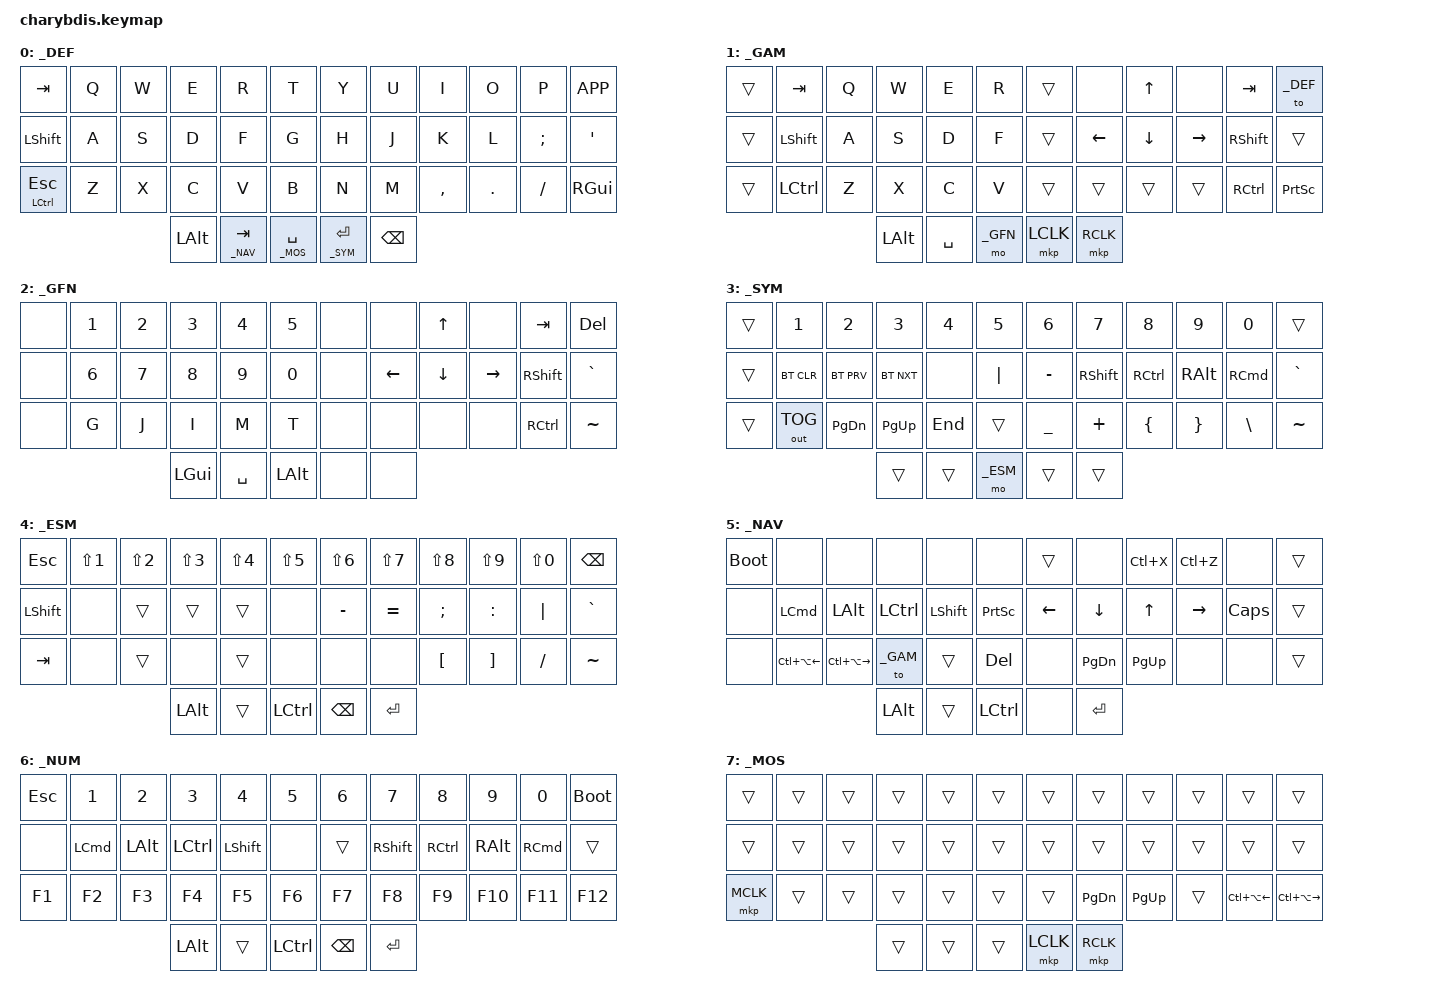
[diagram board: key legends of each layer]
#include <dt-bindings/zmk/mouse.h>
#include <behaviors.dtsi>
#include <dt-bindings/zmk/bt.h>
#include <dt-bindings/zmk/keys.h>
#include <dt-bindings/zmk/outputs.h>

#define _DEF 0
#define _GAM 1
#define _GFN 2
#define _SYM 3
#define _ESM 4
#define _NAV 5
#define _NUM 6
#define _MOS 7

&lt {
    tapping-term-ms = <170>;
    flavor = "balanced";
    quick-tap-ms = <100>;
};

&mt {
    tapping-term-ms = <170>;
    quick-tap-ms = <100>;
    flavor = "tap-preferred";
};

/ {
    behaviors {
        hm: hold_preferred_homerow_mods {
            compatible = "zmk,behavior-hold-tap";
            #binding-cells = <2>;
            tapping-term-ms = <150>;
            quick-tap-ms = <200>;
            require-prior-idle-ms = <125>;
            flavor = "hold-preferred";
            bindings = <&kp>, <&kp>;
        };
        tm: tap_preferred_homerow_mods {
            compatible = "zmk,behavior-hold-tap";
            #binding-cells = <2>;
            tapping-term-ms = <150>;
            quick-tap-ms = <200>;
            require-prior-idle-ms = <125>;
            flavor = "tap-preferred";
            bindings = <&kp>, <&kp>;
        };
        mlt: mouse_lt {
            compatible = "zmk,behavior-hold-tap";
            #binding-cells = <2>;
            tapping-term-ms = <200>;
            flavor = "tap-preferred";
            bindings = <&mo>, <&mkp>;
        };
    };
    keymap {
        compatible = "zmk,keymap";

        Def {
            label = "_DEF";
            bindings = <
&kp TAB        &kp Q  &kp W  &kp E         &kp R         &kp T             &kp Y         &kp U          &kp I      &kp O    &kp P     &kp K_APP
&kp LSHFT      &kp A  &kp S  &kp D         &kp F         &kp G             &kp H         &kp J          &kp K      &kp L    &kp SEMI  &kp APOS
&mt LCTRL ESC  &kp Z  &kp X  &kp C         &kp V         &kp B             &kp N         &kp M          &kp COMMA  &kp DOT  &kp FSLH  &kp RIGHT_GUI
                             &kp LEFT_ALT  &lt _NAV TAB  &lt _MOS SPACE    &lt _SYM RET  &kp BACKSPACE
            >;
        };

        Gam {
            label = "_GAM";
            bindings = <
&trans  &kp TAB     &kp Q  &kp W     &kp E      &kp R       &trans     &none      &kp UP    &none      &kp TAB     &to _DEF
&trans  &kp LSHIFT  &kp A  &kp S     &kp D      &kp F       &trans     &kp LEFT   &kp DOWN  &kp RIGHT  &kp RSHIFT  &trans
&trans  &kp LCTRL   &kp Z  &kp X     &kp C      &kp V       &trans     &trans     &trans    &trans     &kp RCTRL   &kp PRINTSCREEN
                           &kp LALT  &kp SPACE  &mo _GFN    &mkp LCLK  &mkp RCLK
            >;
        };

        GFN {
            label = "_GFN";
            bindings = <
&none  &kp N1  &kp N2  &kp N3    &kp N4     &kp N5          &none  &none     &kp UP    &none      &kp TAB          &kp DEL
&none  &kp N6  &kp N7  &kp N8    &kp N9     &kp N0          &none  &kp LEFT  &kp DOWN  &kp RIGHT  &kp RIGHT_SHIFT  &kp GRAVE
&none  &kp G   &kp J   &kp I     &kp M      &kp T           &none  &none     &none     &none      &kp RCTRL        &kp TILDE
                       &kp LGUI  &kp SPACE  &kp LEFT_ALT    &none  &none
            >;
        };

        SYM {
            label = "_SYM";
            bindings = <
&trans  &kp N1        &kp N2      &kp N3      &kp N4   &kp N5      &kp N6          &kp N7      &kp N8          &kp N9           &kp N0         &trans
&trans  &bt BT_CLR    &bt BT_PRV  &bt BT_NXT  &none    &kp PIPE    &kp MINUS       &kp RSHIFT  &kp RCTRL       &kp RALT         &kp RCMD       &kp GRAVE
&trans  &out OUT_TOG  &kp PG_DN   &kp PG_UP   &kp END  &trans      &kp UNDERSCORE  &kp PLUS    &kp LEFT_BRACE  &kp RIGHT_BRACE  &kp BACKSLASH  &kp TILDE
                                  &trans      &trans   &mo _ESM    &trans          &trans
            >;
        };

        ESM {
            label = "_ESM";
            bindings = <
&kp ESC     &kp LS(N1)  &kp LS(N2)  &kp LS(N3)  &kp LS(N4)  &kp LS(N5)    &kp LS(N6)  &kp LS(N7)  &kp LS(N8)        &kp LS(N9)         &kp LS(N0)  &kp BSPC
&kp LSHIFT  &none       &trans      &trans      &trans      &none         &kp MINUS   &kp EQUAL   &kp SEMICOLON     &kp COLON          &kp PIPE    &kp GRAVE
&kp TAB     &none       &trans      &none       &trans      &none         &none       &none       &kp LEFT_BRACKET  &kp RIGHT_BRACKET  &kp SLASH   &kp TILDE
                                    &kp LALT    &trans      &kp LCTRL     &kp BSPC    &kp RET
            >;
        };

        NAV {
            label = "_NAV";
            bindings = <
&bootloader  &none             &none              &none      &none       &none              &trans    &none      &kp LC(X)  &kp LC(Z)  &none         &trans
&none        &kp LCMD          &kp LALT           &kp LCTRL  &kp LSHIFT  &kp PRINTSCREEN    &kp LEFT  &kp DOWN   &kp UP     &kp RIGHT  &kp CAPSLOCK  &trans
&none        &kp LC(LA(LEFT))  &kp LC(LA(RIGHT))  &to _GAM   &trans      &kp DEL            &none     &kp PG_DN  &kp PG_UP  &none      &none         &trans
                                                  &kp LALT   &trans      &kp LCTRL          &none     &kp RET
            >;
        };

        NUM {
            label = "_NUM";
            bindings = <
&kp ESC  &kp N1    &kp N2    &kp N3     &kp N4      &kp N5       &kp N6    &kp N7      &kp N8     &kp N9    &kp N0    &bootloader
&none    &kp LCMD  &kp LALT  &kp LCTRL  &kp LSHIFT  &none        &trans    &kp RSHIFT  &kp RCTRL  &kp RALT  &kp RCMD  &trans
&kp F1   &kp F2    &kp F3    &kp F4     &kp F5      &kp F6       &kp F7    &kp F8      &kp F9     &kp F10   &kp F11   &kp F12
                             &kp LALT   &trans      &kp LCTRL    &kp BSPC  &kp RET
            >;
        };

        MOS {
            label = "_MOS";
            bindings = <
&trans     &trans  &trans  &trans  &trans  &trans    &trans     &trans     &trans     &trans  &trans            &trans
&trans     &trans  &trans  &trans  &trans  &trans    &trans     &trans     &trans     &trans  &trans            &trans
&mkp MCLK  &trans  &trans  &trans  &trans  &trans    &trans     &kp PG_DN  &kp PG_UP  &trans  &kp LC(LA(LEFT))  &kp LC(LA(RIGHT))
                           &trans  &trans  &trans    &mkp LCLK  &mkp RCLK
            >;
        };
    };

    conditional_layers {
        compatible = "zmk,conditional-layers";

        tri_layer {
            if-layers = <_NAV _SYM>;
            then-layer = <_NUM>;
        };
    };
};
